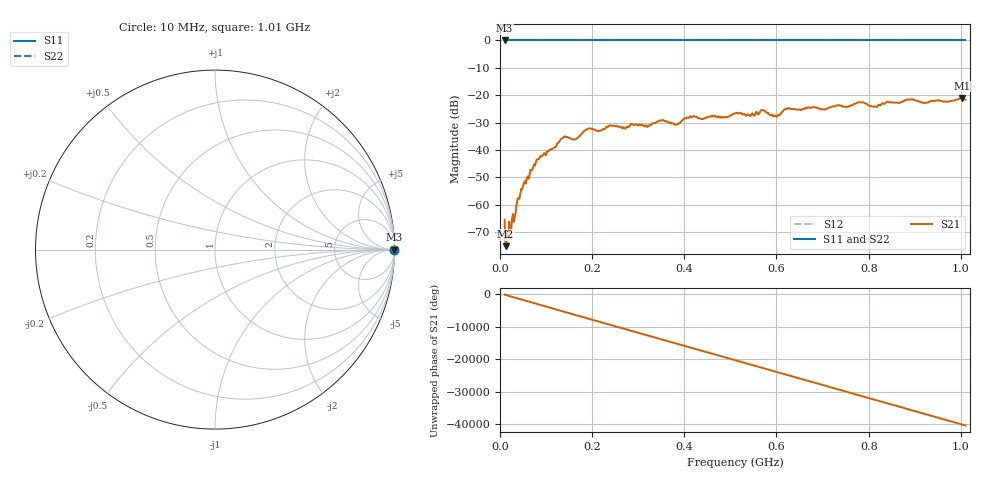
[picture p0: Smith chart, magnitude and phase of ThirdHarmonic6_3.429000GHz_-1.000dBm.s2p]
! 8/17/2025 11:01:30 AM
! C:\ANRITSUVNA\TEMP\TEMP.S2P
! CHANNEL.1
! TR.MEASUREMENT
! RAW.DATA
! RF.CORRECTION.OFF
! AVERAGING.OFF
! IF.BANDWIDTH: 5KHZ
! SWEEPTYPE:  FREQ.SWEEP(Linear)
! Reference Plane Port Info
! PORT:  PORT1  PORT2
! DISTANCE:  0  m  0  m
! TIME:  0  s  0  s
! PHASE.OFFSET:  0  deg.  0  deg.
! LOSS:  0  dB  0  dB
! REF.LOSS:  0  dB  0  dB
! REF.FREQ:  0  Hz  0  Hz
! Power Info
! POWER:  -20  dBm  -20  dBm
! EFF.POWER:  -20  dBm  -20  dBm
! SOURCE.ATTEN:  0  dB  0  dB
! TEST.ATTEN:  0  dB  0  dB
# GHZ S RI R 50.0
! FREQ.GHZ  S11RE  S11IM  S21RE  S21IM  S12RE  S12IM  S22RE  S22IM
!; PortSelection: Port_12
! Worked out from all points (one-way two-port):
!   501 points, 10 MHz to 1.01 GHz, reference 50 ohm
!   highest |S21| = -20.99 dB at 1.002 GHz (marker M1); lowest = -75.1 dB at 12 MHz (marker M2)
!   lowest |S11| = 0.0 dB at 10 MHz (marker M3)
!   |S11| at or under -10 dB: nowhere
!   |S22| runs from 0.0 to 0.0 dB; largest |S21 - S12| = 1.1
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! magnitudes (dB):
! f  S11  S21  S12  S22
! 10 MHz  0.0  -65.4  0.0  0.0
! 12 MHz  0.0  -75.1  0.0  0.0
! 16 MHz  0.0  -69.4  0.0  0.0
! 50 MHz  0.0  -53.2  0.0  0.0
! 82 MHz  0.0  -43.3  0.0  0.0
! 136 MHz  0.0  -35.6  0.0  0.0
! 162 MHz  0.0  -36.2  0.0  0.0
! 178 MHz  0.0  -33.9  0.0  0.0
! 192 MHz  0.0  -32.2  0.0  0.0
! 322 MHz  0.0  -31.1  0.0  0.0
! 344 MHz  0.0  -29.6  0.0  0.0
! 382 MHz  0.0  -30.6  0.0  0.0
! 416 MHz  0.0  -28.0  0.0  0.0
! 510 MHz  0.0  -26.6  0.0  0.0
! 570 MHz  0.0  -25.5  0.0  0.0
! 598 MHz  0.0  -27.6  0.0  0.0
! 624 MHz  0.0  -24.7  0.0  0.0
! 678 MHz  0.0  -24.4  0.0  0.0
! 814 MHz  0.0  -24.0  0.0  0.0
! 844 MHz  0.0  -22.6  0.0  0.0
! 1.002 GHz  0.0  -21.0  0.0  0.0
! 1.01 GHz  0.0  -21.6  0.0  0.0
